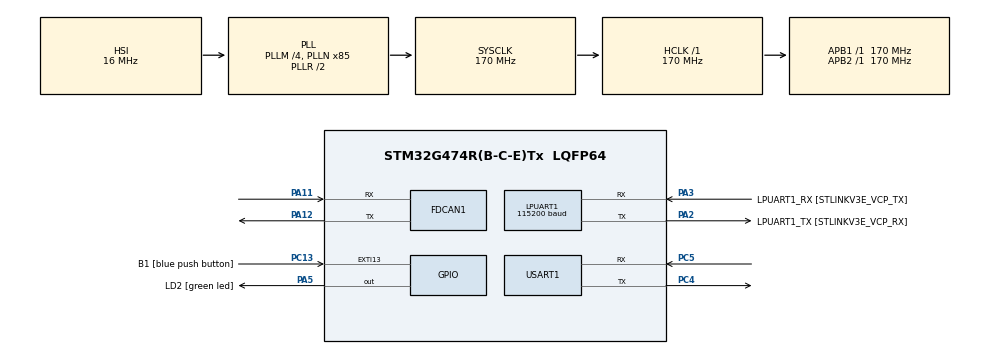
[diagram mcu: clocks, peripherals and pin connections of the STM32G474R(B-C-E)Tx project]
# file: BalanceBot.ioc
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Dma.Request0=USART1_RX
Dma.USART1_RX.0.Direction=DMA_PERIPH_TO_MEMORY
Dma.USART1_RX.0.EventEnable=DISABLE
Dma.USART1_RX.0.Instance=DMA1_Channel1
Dma.USART1_RX.0.MemDataAlignment=DMA_MDATAALIGN_BYTE
Dma.USART1_RX.0.MemInc=DMA_MINC_ENABLE
Dma.USART1_RX.0.Mode=DMA_CIRCULAR
Dma.USART1_RX.0.PeriphDataAlignment=DMA_PDATAALIGN_BYTE
Dma.USART1_RX.0.PeriphInc=DMA_PINC_DISABLE
Dma.USART1_RX.0.Polarity=HAL_DMAMUX_REQ_GEN_RISING
Dma.USART1_RX.0.Priority=DMA_PRIORITY_LOW
Dma.USART1_RX.0.RequestNumber=1
Dma.USART1_RX.0.SignalID=NONE
Dma.USART1_RX.0.SyncEnable=DISABLE
Dma.USART1_RX.0.SyncPolarity=HAL_DMAMUX_SYNC_NO_EVENT
Dma.USART1_RX.0.SyncRequestNumber=1
Dma.USART1_RX.0.SyncSignalID=NONE
FDCAN1.AutoRetransmission=ENABLE
FDCAN1.CalculateBaudRateNominal=999999
FDCAN1.CalculateTimeBitNominal=1000
FDCAN1.CalculateTimeQuantumNominal=11.764705882352942
FDCAN1.DataPrescaler=10
FDCAN1.DataSyncJumpWidth=8
FDCAN1.DataTimeSeg1=8
FDCAN1.DataTimeSeg2=8
FDCAN1.FrameFormat=FDCAN_FRAME_FD_BRS
FDCAN1.Mode=FDCAN_MODE_NORMAL
FDCAN1.NominalPrescaler=2
FDCAN1.NominalSyncJumpWidth=11
FDCAN1.NominalTimeSeg1=73
FDCAN1.NominalTimeSeg2=11
FDCAN1.StdFiltersNbr=1
LPUART1.BaudRate=115200
LPUART1.WordLength=UART_WORDLENGTH_8B
Mcu.Family=STM32G4
Mcu.Name=STM32G474R(B-C-E)Tx
Mcu.Package=LQFP64
NVIC.DMA1_Channel1_IRQn=true\:0\:0\:false\:false\:true\:false\:true\:true
NVIC.EXTI15_10_IRQn=true\:0\:0\:false\:false\:true\:true\:true\:true
NVIC.FDCAN1_IT0_IRQn=true\:0\:0\:false\:false\:true\:true\:true\:true
NVIC.PriorityGroup=NVIC_PRIORITYGROUP_4
NVIC.USART1_IRQn=true\:0\:0\:false\:false\:true\:true\:true\:true
PA11.Mode=FDCAN_Activate
PA11.Signal=FDCAN1_RX
PA12.Mode=FDCAN_Activate
PA12.Signal=FDCAN1_TX
PA13.GPIO_Label=T_SWDIO
PA13.Mode=Serial_Wire
PA13.Signal=SYS_JTMS-SWDIO
PA14.GPIO_Label=T_SWCLK
PA14.Mode=Serial_Wire
PA14.Signal=SYS_JTCK-SWCLK
PA2.GPIO_Label=LPUART1_TX [STLINKV3E_VCP_RX]
PA2.Mode=Asynchronous
PA2.Signal=LPUART1_TX
PA3.GPIO_Label=LPUART1_RX [STLINKV3E_VCP_TX]
PA3.Mode=Asynchronous
PA3.Signal=LPUART1_RX
PA5.GPIO_Label=LD2 [green led]
PA5.Signal=GPIO_Output
PB3.GPIO_Label=T_SWO
PB3.Signal=SYS_JTDO-SWO
PC13.GPIO_Label=B1 [blue push button]
PC13.Signal=GPXTI13
PC14-OSC32_IN.Mode=LSE-External-Oscillator
PC14-OSC32_IN.Signal=RCC_OSC32_IN
PC15-OSC32_OUT.Mode=LSE-External-Oscillator
PC15-OSC32_OUT.Signal=RCC_OSC32_OUT
PC4.Mode=Asynchronous
PC4.Signal=USART1_TX
PC5.Mode=Asynchronous
PC5.Signal=USART1_RX
PF0-OSC_IN.Mode=HSE-External-Oscillator
PF0-OSC_IN.Signal=RCC_OSC_IN
PF1-OSC_OUT.Mode=HSE-External-Oscillator
PF1-OSC_OUT.Signal=RCC_OSC_OUT
ProjectManager.HeapSize=0x200
ProjectManager.StackSize=0x400
ProjectManager.TargetToolchain=STM32CubeIDE
RCC.ADC12Freq_Value=170000000
RCC.ADC345Freq_Value=170000000
RCC.AHBFreq_Value=170000000
RCC.APB1Freq_Value=170000000
RCC.APB1TimFreq_Value=170000000
RCC.APB2Freq_Value=170000000
RCC.APB2TimFreq_Value=170000000
RCC.CortexFreq_Value=170000000
RCC.EXTERNAL_CLOCK_VALUE=12288000
RCC.HCLKFreq_Value=170000000
RCC.HSE_VALUE=24000000
RCC.HSI48_VALUE=48000000
RCC.HSI_VALUE=16000000
RCC.PLLM=RCC_PLLM_DIV4
RCC.PLLN=85
RCC.RTCClockSelection=RCC_RTCCLKSOURCE_LSE
RCC.SYSCLKFreq_VALUE=170000000
RCC.SYSCLKSource=RCC_SYSCLKSOURCE_PLLCLK
RCC.USBFreq_Value=170000000
RCC.VCOOutputFreq_Value=340000000
USART1.VirtualMode-Asynchronous=VM_ASYNC
VP_SYS_VS_DBSignals.Mode=DisableDeadBatterySignals
board=NUCLEO-G474RE

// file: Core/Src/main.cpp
/* USER CODE BEGIN Header */
/**
  ******************************************************************************
  * @file           : main.c
  * @brief          : Main program body
  ******************************************************************************
  * @attention
  *
  * Copyright (c) 2023 STMicroelectronics.
  * All rights reserved.
  *
  * This software is licensed under terms that can be found in the LICENSE file
  * in the root directory of this software component.
  * If no LICENSE file comes with this software, it is provided AS-IS.
  *
  ******************************************************************************
  */
/* USER CODE END Header */
#include "main.h"
#include "dma.h"
#include "fdcan.h"
#include "usart.h"
#include "gpio.h"

/* USER CODE BEGIN Includes */
#include "string.h"
#include "stdio.h"
#include "motor.h"
#include "math.h"
#include "imu.h"
/* USER CODE END Includes */

/* USER CODE BEGIN PD */
#define SPI_BUFFER_SIZE 8			// Bytes
#define STARTUP_TIME 1				// Seconds
#define CTRL_TIMEOUT 1 				// Seconds

/* USER CODE END PD */

/* USER CODE BEGIN PV */
uint8_t rec_flag = 0;
uint8_t UART1_rxBuffer[28] = {0};

uint32_t loop_count = 0;
uint32_t last_spi_msg = 0;
float dt = 0.001;

FDCAN_FilterTypeDef sFilterConfig;
FDCAN_TxHeaderTypeDef   TxHeader;
FDCAN_RxHeaderTypeDef   RxHeader;
uint8_t               TxData[8];
uint8_t				  RxData[8];
uint32_t count = 0;

Motor motor1;
Motor motor2;
IMU imu;

float current1;
float current2;
typedef struct
{
  int16_t vel_t_1;    	 	/*!< Specifies the target velocity for motor 1*/
  int16_t vel_t_2;    	 	/*!< Specifies the target velocity for motor 2*/

} VelocityTargetMsg;
VelocityTargetMsg vel_targ;

uint8_t spi_buf[SPI_BUFFER_SIZE];

float error, error_prev;
float P, I, D;
float I_accum, d_error;
/* USER CODE END PV */

void SystemClock_Config(void);

int main(void)
{

  /* MCU Configuration--------------------------------------------------------*/

  /* Reset of all peripherals, Initializes the Flash interface and the Systick. */
  HAL_Init();

  /* Configure the system clock */
  SystemClock_Config();

  /* Initialize all configured peripherals */
  MX_GPIO_Init();
  MX_DMA_Init();
  MX_LPUART1_UART_Init();
  MX_USART1_UART_Init();
  MX_FDCAN1_Init();
  /* USER CODE BEGIN 2 */
  HAL_UART_Receive_DMA(&huart1, UART1_rxBuffer, 28);

  sFilterConfig.IdType = FDCAN_STANDARD_ID;
  sFilterConfig.FilterIndex = 0;
  sFilterConfig.FilterType = FDCAN_FILTER_MASK;
  sFilterConfig.FilterConfig = FDCAN_FILTER_TO_RXFIFO0;
  sFilterConfig.FilterID1 = 0x0;
  sFilterConfig.FilterID2 = 0x0;
  if (HAL_FDCAN_ConfigFilter(&hfdcan1, &sFilterConfig) != HAL_OK)
  {
    /* Filter configuration Error */
    Error_Handler();
  }
  if(HAL_FDCAN_Start(&hfdcan1)!= HAL_OK)
  {
	  Error_Handler();
  }
  if (HAL_FDCAN_ActivateNotification(&hfdcan1, FDCAN_IT_RX_FIFO0_NEW_MESSAGE, 0) != HAL_OK)
  {
    /* Notification Error */
    Error_Handler();
  }
  TxHeader.Identifier = 0x200;
  TxHeader.IdType = FDCAN_STANDARD_ID;
  TxHeader.TxFrameType = FDCAN_DATA_FRAME;
  TxHeader.DataLength = FDCAN_DLC_BYTES_8;
  TxHeader.ErrorStateIndicator = FDCAN_ESI_ACTIVE;
  TxHeader.BitRateSwitch = FDCAN_BRS_OFF;
  TxHeader.FDFormat = FDCAN_CLASSIC_CAN;
  TxHeader.TxEventFifoControl = FDCAN_NO_TX_EVENTS;
  TxHeader.MessageMarker = 0;

	current1 = 0.0;
	current2 = 0.0;
	float target_vel1 = 0.0;
	float target_vel2 = 0.0;
	int16_t current_word1 = 0.0;
	int16_t current_word2 = 0.0;

	float kp_gain = 0.0002;
	float ki_gain = 0.000;
	float kd_gain = 0.01;
	float max_current = 3.0;
	motor1.PID_Init(kp_gain, ki_gain, kd_gain, max_current);
	motor2.PID_Init(kp_gain, ki_gain, kd_gain, max_current);
	imu.init();
  /* USER CODE END 2 */

  /* Infinite loop */
  /* USER CODE BEGIN WHILE */
  P = .03;
  I = 0.0006;
  D = 0.01;
  I_accum = 0.0;
  d_error = 0.0;
  while (1)
  {
	if(rec_flag)
	{
		imu.complimentary_update();
		if(abs(imu.get_angle()) < 45)
		{
			error_prev = error;
			error = imu.get_angle();
			I_accum += error;
			d_error = error-error_prev;
			float vel_targ = error*P + I_accum*I + d_error*D;
//			current1 = motor1.PID_Controller(vel_targ);
//			current2 = motor2.PID_Controller(-vel_targ);
			if(abs(vel_targ) > 1.5)
			{
				if(vel_targ > 0)
				{
					vel_targ = 1.5;
				}
				else
				{
					vel_targ = -1.5;
				}
			}
			if(abs(I_accum) > 0.5/I)
			{
				if(I_accum > 0)
				{
					I_accum = 0.5/I;
				}
				else
				{
					I_accum = -0.5/I;
				}
			}
			current1 = vel_targ;
			current2 = -vel_targ;
			rec_flag=0;
		}
		else
		{
			current1 = 0;
			current2 = 0;
		}

	}

	current_word1 = (int16_t)(current1/20.0*16384);
	current_word2 = (int16_t)(current2/20.0*16384);
	TxData[0] = current_word1 >> 8;
	TxData[1] = (int8_t)(current_word1 & 0x00ff);
	TxData[2] = current_word2 >> 8;
	TxData[3] = (int8_t)(current_word2 & 0x00ff);

	if (HAL_FDCAN_AddMessageToTxFifoQ(&hfdcan1, &TxHeader, TxData)!= HAL_OK)
	{
//		Error_Handler();
	}
	HAL_Delay(1);
	loop_count++;

    /* USER CODE END WHILE */

  }
}

void SystemClock_Config(void)
{
  RCC_OscInitTypeDef RCC_OscInitStruct = {0};
  RCC_ClkInitTypeDef RCC_ClkInitStruct = {0};

  /** Configure the main internal regulator output voltage
  */
  HAL_PWREx_ControlVoltageScaling(PWR_REGULATOR_VOLTAGE_SCALE1_BOOST);

  /** Initializes the RCC Oscillators according to the specified parameters
  * in the RCC_OscInitTypeDef structure.
  */
  RCC_OscInitStruct.OscillatorType = RCC_OSCILLATORTYPE_HSI;
  RCC_OscInitStruct.HSIState = RCC_HSI_ON;
  RCC_OscInitStruct.HSICalibrationValue = RCC_HSICALIBRATION_DEFAULT;
  RCC_OscInitStruct.PLL.PLLState = RCC_PLL_ON;
  RCC_OscInitStruct.PLL.PLLSource = RCC_PLLSOURCE_HSI;
  RCC_OscInitStruct.PLL.PLLM = RCC_PLLM_DIV4;
  RCC_OscInitStruct.PLL.PLLN = 85;
  RCC_OscInitStruct.PLL.PLLP = RCC_PLLP_DIV2;
  RCC_OscInitStruct.PLL.PLLQ = RCC_PLLQ_DIV2;
  RCC_OscInitStruct.PLL.PLLR = RCC_PLLR_DIV2;
  if (HAL_RCC_OscConfig(&RCC_OscInitStruct) != HAL_OK)
  {
    Error_Handler();
  }

  /** Initializes the CPU, AHB and APB buses clocks
  */
  RCC_ClkInitStruct.ClockType = RCC_CLOCKTYPE_HCLK|RCC_CLOCKTYPE_SYSCLK
                              |RCC_CLOCKTYPE_PCLK1|RCC_CLOCKTYPE_PCLK2;
  RCC_ClkInitStruct.SYSCLKSource = RCC_SYSCLKSOURCE_PLLCLK;
  RCC_ClkInitStruct.AHBCLKDivider = RCC_SYSCLK_DIV1;
  RCC_ClkInitStruct.APB1CLKDivider = RCC_HCLK_DIV1;
  RCC_ClkInitStruct.APB2CLKDivider = RCC_HCLK_DIV1;

  if (HAL_RCC_ClockConfig(&RCC_ClkInitStruct, FLASH_LATENCY_4) != HAL_OK)
  {
    Error_Handler();
  }
}

/* USER CODE BEGIN 4 */
void HAL_UART_RxHalfCpltCallback(UART_HandleTypeDef *huart)
{
//  HAL_GPIO_TogglePin (GPIOA, GPIO_PIN_0);  // toggle PA0
}

void HAL_UART_RxCpltCallback(UART_HandleTypeDef *huart)
{
	memcpy(&imu.sample.ms_counter, &UART1_rxBuffer, sizeof(imu.sample));
	rec_flag = 1;
//	HAL_UART_Receive_DMA(&huart1, UART1_rxBuffer, 28);

}
/* USER CODE END 4 */

void HAL_FDCAN_RxFifo0Callback(FDCAN_HandleTypeDef *hfdcan, uint32_t RxFifo0ITs)
{
  if((RxFifo0ITs & FDCAN_IT_RX_FIFO0_NEW_MESSAGE) != RESET)
  {
    /* Retreive Rx messages from RX FIFO0 */
    if (HAL_FDCAN_GetRxMessage(hfdcan, FDCAN_RX_FIFO0, &RxHeader, RxData) != HAL_OK)
    {
    /* Reception Error */
//    Error_Handler();
    }
    if (HAL_FDCAN_ActivateNotification(hfdcan, FDCAN_IT_RX_FIFO0_NEW_MESSAGE, 0) != HAL_OK)
    {
      /* Notification Error */
//      Error_Handler();
    }
  }
}
void Error_Handler(void)
{
  __disable_irq();
  while (1)
  {
  }
}
